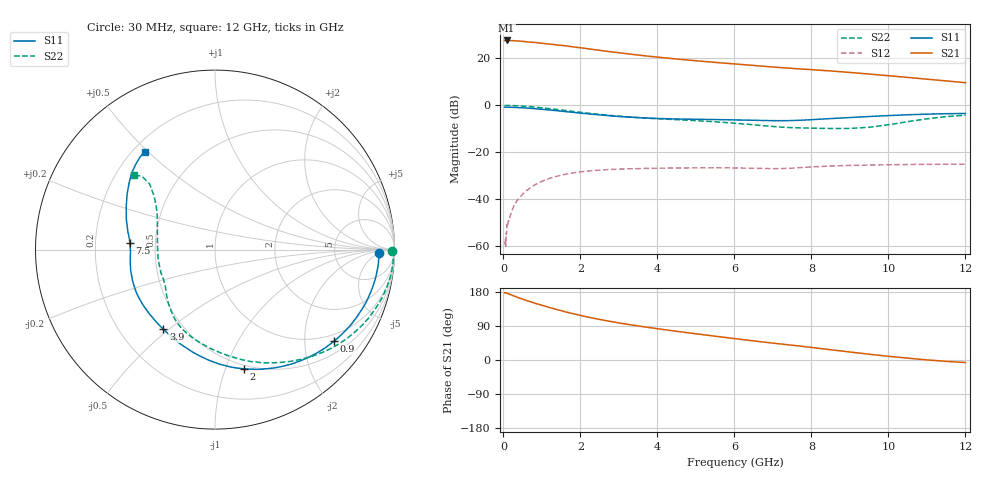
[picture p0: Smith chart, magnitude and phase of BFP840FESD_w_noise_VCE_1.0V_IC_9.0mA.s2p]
! Infineon Technologies  Discrete & RF Semiconductors
! BFP840FESD
! VCE =  1.0 V,  IC =  9.0 mA
! Common Emitter S-Parameters:  May 2012
# GHz  S  MA  R  50
!  f  S11  S21  S12  S22
! GHz  MAG  ANG  MAG  ANG  MAG  ANG  MAG  ANG
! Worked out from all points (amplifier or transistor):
!   103 points, 30 MHz to 12 GHz, reference 50 ohm
!   highest |S21| = 27.6 dB at 80 MHz (marker M1)
!   |S21| within 3 dB of that: start of sweep to 1.938 GHz
!   unconditionally stable (mu >= 1): 6.525 GHz to end of sweep
!   at 400 MHz: K = 0.06, MSG = 33.5 dB, |S12| = -39.6 dB
!   at 3.7 GHz: K = 0.51, MSG = 24.0 dB, |S12| = -26.9 dB
!   at 12 GHz: K = 1.21, MAG = 14.6 dB, |S12| = -25.1 dB
!   lowest NFmin = 0.64 dB at 450 MHz
!   S11 on the Smith chart (normalised r, x): 30 MHz: 21, -5; 900 MHz: 0.80, -2.74; 2 GHz: 0.47, -1.16; 3.9 GHz: 0.39, -0.48; 7.5 GHz: 0.36, +0.03; 12 GHz: 0.25, +0.49
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0.03  0.9151 -1.2  23.92 177.2  0.0011 123.7  0.9864 -0.4
0.04  0.915 -1.7  23.98 176.9  0.0011 102.5  0.9897 -0.8
0.05  0.9144 -2.2  24.09 177.9  0.0014 88.2  0.9927 -1.2
0.08  0.9136 -3.5  24.12 176.7  0.0018 98.2  0.9935 -2.4
0.25  0.9073 -10.9  23.88 169.9  0.0066 83.6  0.9886 -8.9
0.45  0.8908 -19.4  23.24 162.2  0.0115 78.1  0.9692 -15.9
0.9  0.8374 -37.5  21.5 147.4  0.022 66.3  0.9031 -30.8
1.2  0.7957 -48.9  20.18 138.4  0.0278 58.8  0.8505 -40.1
1.6  0.7374 -63.4  18.63 127.4  0.0339 50.6  0.7779 -51.8
2  0.684 -76.3  16.84 117.7  0.0381 43.4  0.7106 -62.6
2.1  0.6715 -79.4  16.45 115.3  0.0392 41.8  0.6958 -65.1
2.5  0.6267 -90.6  14.87 107.0  0.0417 36.0  0.6415 -74.4
2.9  0.5893 -100.8  13.49 99.6  0.0433 31.6  0.5976 -82.6
3.3  0.5597 -110.2  12.32 92.9  0.0446 28.2  0.5623 -89.9
3.9  0.5284 -122.9  10.86 84.0  0.0456 24.5  0.5247 -99.3
4.1  0.5225 -126.9  10.46 81.2  0.046 23.3  0.5142 -102.2
5  0.5049 -143.7  8.919 69.2  0.0465 19.8  0.4718 -114.0
6.1  0.4875 -161.7  7.516 55.3  0.0462 17.0  0.4101 -127.8
7.5  0.475 175.8  6.125 39.0  0.0459 20.9  0.3348 -147.9
8.5  0.5225 161.0  5.402 27.1  0.051 20.7  0.3212 -170.2
10.5  0.6302 137.5  3.936 4.9  0.0549 17.4  0.45 138.8
12  0.672 125.7  3.038 -6.7  0.0559 17.7  0.6161 137.4
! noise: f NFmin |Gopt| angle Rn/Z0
0.45  0.64  0.36  5  0.14
0.9  0.66  0.34  12  0.15
1.5  0.68  0.31  17  0.14
1.9  0.68  0.28  27  0.15
2.4  0.7  0.26  35  0.15
3.5  0.71  0.25  56  0.14
5.5  0.77  0.17  99  0.12
8  0.89  0.15  161  0.12
10  1.03  0.24  -139  0.12
12  1.25  0.4  -117  0.14
